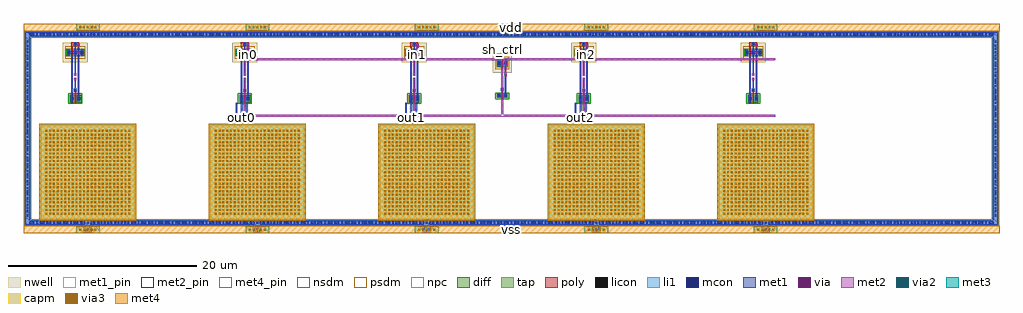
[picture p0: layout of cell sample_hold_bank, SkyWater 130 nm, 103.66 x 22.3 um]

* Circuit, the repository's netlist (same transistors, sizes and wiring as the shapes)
* NGSPICE file created from sample_hold_bank_flat.ext - technology: sky130A

.subckt sample_hold_bank_flat in0 in1 in2 out0 out2 vdd vss
X0 a_1150_2781# a_1102_3013# a_1014_2781# vss sky130_fd_pr__nfet_01v8 ad=0.4452 pd=2.74 as=0.4452 ps=2.74 w=0.84 l=0.15
X1 out2 out2 out2 w_8070_3634# sky130_fd_pr__pfet_01v8 ad=0.2226 pd=1.37 as=3.1164 ps=19.18 w=0.84 l=0.15
X2 a_4546_3760# a_4546_3760# a_4546_3760# w_4470_3634# sky130_fd_pr__pfet_01v8 ad=0.4452 pd=2.74 as=1.3356 ps=8.22 w=0.84 l=0.15
X3 out2 out2 out2 w_11670_3634# sky130_fd_pr__pfet_01v8 ad=0.2226 pd=1.37 as=0 ps=0 w=0.84 l=0.15
X4 a_946_3760# a_946_3760# a_946_3760# w_870_3634# sky130_fd_pr__pfet_01v8 ad=0.2226 pd=1.37 as=1.3356 ps=8.22 w=0.84 l=0.15
X5 a_4750_2781# a_4702_3013# out0 vss sky130_fd_pr__nfet_01v8 ad=0.4452 pd=2.74 as=0.4452 ps=2.74 w=0.84 l=0.15
X6 c1_11200_300# out2 sky130_fd_pr__cap_mim_m3_1 l=10 w=10
X7 c1_400_300# m3_372_272# sky130_fd_pr__cap_mim_m3_1 l=10 w=10
X8 a_15346_3760# a_15346_3760# a_15346_3760# w_15270_3634# sky130_fd_pr__pfet_01v8 ad=0.4452 pd=2.74 as=1.3356 ps=8.22 w=0.84 l=0.15
X9 a_4546_3760# a_4546_3760# a_4546_3760# w_4470_3634# sky130_fd_pr__pfet_01v8 ad=0.2226 pd=1.37 as=0 ps=0 w=0.84 l=0.15
X10 a_15550_2781# a_15502_3013# a_15414_2781# vss sky130_fd_pr__nfet_01v8 ad=0.4452 pd=2.74 as=0.4452 ps=2.74 w=0.84 l=0.15
X11 c1_14800_300# m3_14772_272# sky130_fd_pr__cap_mim_m3_1 l=10 w=10
X12 c1_4000_300# out0 sky130_fd_pr__cap_mim_m3_1 l=10 w=10
X13 out2 out2 out2 w_8070_3634# sky130_fd_pr__pfet_01v8 ad=0.4452 pd=2.74 as=0 ps=0 w=0.84 l=0.15
X14 a_15346_3760# a_15346_3760# a_15346_3760# w_15270_3634# sky130_fd_pr__pfet_01v8 ad=0.2226 pd=1.37 as=0 ps=0 w=0.84 l=0.15
X15 out2 out2 a_10082_3536# w_10006_3410# sky130_fd_pr__pfet_01v8 ad=0.4452 pd=2.74 as=0.4452 ps=2.74 w=0.84 l=0.15
X16 out2 out2 out2 w_11670_3634# sky130_fd_pr__pfet_01v8 ad=0.4452 pd=2.74 as=0 ps=0 w=0.84 l=0.15
X17 out2 out2 a_10082_2881# vss sky130_fd_pr__nfet_01v8 ad=0.2226 pd=1.9 as=0.2226 ps=1.9 w=0.42 l=0.15
X18 a_946_3760# a_946_3760# a_946_3760# w_870_3634# sky130_fd_pr__pfet_01v8 ad=0.4452 pd=2.74 as=0 ps=0 w=0.84 l=0.15
X19 a_8350_2781# out2 out2 vss sky130_fd_pr__nfet_01v8 ad=0.4452 pd=2.74 as=0.4452 ps=2.74 w=0.84 l=0.15
X20 c1_7600_300# out2 sky130_fd_pr__cap_mim_m3_1 l=10 w=10
X21 a_11950_2781# out2 out2 vss sky130_fd_pr__nfet_01v8 ad=0.4452 pd=2.74 as=0.4452 ps=2.74 w=0.84 l=0.15
.ends

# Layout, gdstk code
import gdstk
lib = gdstk.Library(unit=1e-6, precision=1e-09)
def R(c, l, rs):  # rectangles x0, y0, x1, y1
    for r in rs: c.add(gdstk.rectangle(r[:2], r[2:], *l))
def A(c, l, x, y, w, h, nx, ny, dx, dy):  # array of equal rectangles
    R(c, l, [(x+i*dx, y+j*dy, x+i*dx+w, y+j*dy+h) for i in range(nx) for j in range(ny)])
def P(c, l, *ps):  # polygons
    for p in ps: c.add(gdstk.Polygon(p, *l))
nwell = (64, 20)
diff = (65, 20)
tap = (65, 44)
poly = (66, 20)
licon = (66, 44)
li1 = (67, 20)
mcon = (67, 44)
met1_pin = (68, 16)
met1 = (68, 20)
via = (68, 44)
met2_pin = (69, 16)
met2 = (69, 20)
via2 = (69, 44)
met3 = (70, 20)
via3 = (70, 44)
met4_pin = (71, 16)
met4 = (71, 20)
capm = (89, 44)
nsdm = (93, 44)
psdm = (94, 20)
npc = (95, 20)

shb_mim_dummy = lib.new_cell('shb_mim_dummy')
R(shb_mim_dummy, met3, [(-0.14,-0.14,10.14,10.14)])
A(shb_mim_dummy, via3, 0.5, 0.5, 0.2, 0.2, 23, 23, 0.4, 0.4)
R(shb_mim_dummy, met4, [(-0.14,-0.14,10.14,10.14)])
R(shb_mim_dummy, capm, [(0,0,10,10)])

shb_mim_200f = lib.new_cell('shb_mim_200f')
R(shb_mim_200f, met3, [(-0.14,-0.14,10.14,10.14)])
A(shb_mim_200f, via3, 0.5, 0.5, 0.2, 0.2, 23, 23, 0.4, 0.4)
R(shb_mim_200f, met4, [(-0.14,-0.14,10.14,10.14)])
R(shb_mim_200f, capm, [(0,0,10,10)])

shb_tg_dummy_n = lib.new_cell('shb_tg_dummy_n')
R(shb_tg_dummy_n, diff, [(-0.605,-0.42,0.605,0.42)])
R(shb_tg_dummy_n, poly, [(-0.075,-0.55,0.075,0.55), (-0.075,0.55,0.075,1.07), (-0.165,0.74,0.165,1.07)])
R(shb_tg_dummy_n, licon, [(-0.425,-0.255,-0.255,-0.085), (0.255,-0.255,0.425,-0.085), (-0.425,0.085,-0.255,0.255), (0.255,0.085,0.425,0.255), (-0.085,0.82,0.085,0.99)])
R(shb_tg_dummy_n, li1, [(-0.505,-0.335,-0.175,0.335), (0.175,-0.335,0.505,0.335), (-0.165,0.74,0.165,1.07)])
R(shb_tg_dummy_n, mcon, [(-0.425,-0.085,-0.255,0.085), (0.255,-0.085,0.425,0.085), (-0.085,0.82,0.085,0.99)])
R(shb_tg_dummy_n, met1, [(-0.455,-0.185,-0.225,0.185), (0.225,-0.185,0.455,0.185), (-0.115,0.72,0.115,1.09)])
R(shb_tg_dummy_n, nsdm, [(-0.73,-0.56,0.73,0.56)])
R(shb_tg_dummy_n, npc, [(-0.135,0.77,0.135,1.04)])

shb_tg_dummy_p = lib.new_cell('shb_tg_dummy_p')
R(shb_tg_dummy_p, nwell, [(-1.325,-1.05,1.325,1.05)])
R(shb_tg_dummy_p, diff, [(-0.945,-0.42,0.945,0.42)])
R(shb_tg_dummy_p, poly, [(-0.415,-0.67,-0.265,0.67), (0.265,-0.67,0.415,0.67), (-0.415,0.67,-0.265,1.07), (0.265,0.67,0.415,1.07), (-0.415,0.74,0.415,1.07), (-0.165,0.74,0.165,1.07)])
A(shb_tg_dummy_p, licon, -0.765, -0.255, 0.17, 0.17, 3, 2, 0.68, 0.34)
R(shb_tg_dummy_p, licon, [(-0.085,0.82,0.085,0.99)])
A(shb_tg_dummy_p, li1, -0.845, -0.335, 0.33, 0.67, 3, 1, 0.68, 0)
R(shb_tg_dummy_p, li1, [(-0.165,0.74,0.165,1.07)])
A(shb_tg_dummy_p, mcon, -0.765, -0.085, 0.17, 0.17, 3, 1, 0.68, 0)
R(shb_tg_dummy_p, mcon, [(-0.085,0.82,0.085,0.99)])
A(shb_tg_dummy_p, met1, -0.795, -0.185, 0.23, 0.37, 3, 1, 0.68, 0)
R(shb_tg_dummy_p, met1, [(-0.795,-0.115,0.795,0.115), (-0.115,0.72,0.115,1.09)])
R(shb_tg_dummy_p, psdm, [(-1.07,-0.68,1.07,0.68)])
R(shb_tg_dummy_p, npc, [(-0.135,0.77,0.135,1.04)])

shb_tg_dummy = lib.new_cell('shb_tg_dummy')
R(shb_tg_dummy, met1, [(-0.41,0.305,-0.27,5.401), (0.27,1.145,0.41,6.241), (-0.07,1.68,0.07,3.065), (-0.115,2.785,0.115,3.065), (-0.115,3.235,0.115,3.515), (-0.07,3.235,0.07,6.676), (0.225,6.376,0.455,6.656)])
R(shb_tg_dummy, via, [(-0.075,2.85,0.075,3), (-0.075,3.3,0.075,3.45), (0.265,6.441,0.415,6.591)])
R(shb_tg_dummy, met2, [(-0.115,2.785,0.115,3.065), (-0.115,3.235,0.115,3.515), (0.225,6.376,0.455,6.656)])
shb_tg_dummy.add(gdstk.Reference(shb_tg_dummy_n, (0,0.825)))
shb_tg_dummy.add(gdstk.Reference(shb_tg_dummy_p, (0,5.721)))

shb_tg_n = lib.new_cell('shb_tg_n')
R(shb_tg_n, diff, [(-0.605,-0.42,0.605,0.42)])
R(shb_tg_n, poly, [(-0.075,-0.55,0.075,0.55), (-0.075,0.55,0.075,1.07), (-0.165,0.74,0.165,1.07)])
R(shb_tg_n, licon, [(-0.425,-0.255,-0.255,-0.085), (0.255,-0.255,0.425,-0.085), (-0.425,0.085,-0.255,0.255), (0.255,0.085,0.425,0.255), (-0.085,0.82,0.085,0.99)])
R(shb_tg_n, li1, [(-0.505,-0.335,-0.175,0.335), (0.175,-0.335,0.505,0.335), (-0.165,0.74,0.165,1.07)])
R(shb_tg_n, mcon, [(-0.425,-0.085,-0.255,0.085), (0.255,-0.085,0.425,0.085), (-0.085,0.82,0.085,0.99)])
R(shb_tg_n, met1, [(-0.455,-0.185,-0.225,0.185), (0.225,-0.185,0.455,0.185), (-0.115,0.72,0.115,1.09)])
R(shb_tg_n, nsdm, [(-0.73,-0.56,0.73,0.56)])
R(shb_tg_n, npc, [(-0.135,0.77,0.135,1.04)])

shb_tg_p = lib.new_cell('shb_tg_p')
R(shb_tg_p, nwell, [(-1.325,-1.05,1.325,1.05)])
R(shb_tg_p, diff, [(-0.945,-0.42,0.945,0.42)])
R(shb_tg_p, poly, [(-0.415,-0.67,-0.265,0.67), (0.265,-0.67,0.415,0.67), (-0.415,0.67,-0.265,1.07), (0.265,0.67,0.415,1.07), (-0.415,0.74,0.415,1.07), (-0.165,0.74,0.165,1.07)])
A(shb_tg_p, licon, -0.765, -0.255, 0.17, 0.17, 3, 2, 0.68, 0.34)
R(shb_tg_p, licon, [(-0.085,0.82,0.085,0.99)])
A(shb_tg_p, li1, -0.845, -0.335, 0.33, 0.67, 3, 1, 0.68, 0)
R(shb_tg_p, li1, [(-0.165,0.74,0.165,1.07)])
A(shb_tg_p, mcon, -0.765, -0.085, 0.17, 0.17, 3, 1, 0.68, 0)
R(shb_tg_p, mcon, [(-0.085,0.82,0.085,0.99)])
A(shb_tg_p, met1, -0.795, -0.185, 0.23, 0.37, 3, 1, 0.68, 0)
R(shb_tg_p, met1, [(-0.795,-0.115,0.795,0.115), (-0.115,0.72,0.115,1.09)])
R(shb_tg_p, psdm, [(-1.07,-0.68,1.07,0.68)])
R(shb_tg_p, npc, [(-0.135,0.77,0.135,1.04)])

shb_tg = lib.new_cell('shb_tg')
R(shb_tg, met1, [(-0.41,0.305,-0.27,5.401), (0.27,1.145,0.41,6.241), (-0.07,1.68,0.07,3.065), (-0.115,2.785,0.115,3.065), (-0.115,3.235,0.115,3.515), (-0.07,3.235,0.07,6.676), (0.225,6.376,0.455,6.656)])
R(shb_tg, via, [(-0.075,2.85,0.075,3), (-0.075,3.3,0.075,3.45), (0.265,6.441,0.415,6.591)])
R(shb_tg, met2, [(-0.115,2.785,0.115,3.065), (-0.115,3.235,0.115,3.515), (0.225,6.376,0.455,6.656)])
shb_tg.add(gdstk.Reference(shb_tg_n, (0,0.825)))
shb_tg.add(gdstk.Reference(shb_tg_p, (0,5.721)))

shb_inv_ctrl_n = lib.new_cell('shb_inv_ctrl_n')
R(shb_inv_ctrl_n, diff, [(-0.605,-0.21,0.605,0.21)])
R(shb_inv_ctrl_n, poly, [(-0.075,-0.34,0.075,0.34), (-0.075,0.34,0.075,0.86), (-0.165,0.53,0.165,0.86)])
R(shb_inv_ctrl_n, licon, [(-0.425,-0.085,-0.255,0.085), (0.255,-0.085,0.425,0.085), (-0.085,0.61,0.085,0.78)])
R(shb_inv_ctrl_n, li1, [(-0.505,-0.165,-0.175,0.165), (0.175,-0.165,0.505,0.165), (-0.165,0.53,0.165,0.86)])
R(shb_inv_ctrl_n, mcon, [(-0.425,-0.085,-0.255,0.085), (0.255,-0.085,0.425,0.085), (-0.085,0.61,0.085,0.78)])
R(shb_inv_ctrl_n, met1, [(-0.455,-0.185,-0.225,0.185), (0.225,-0.185,0.455,0.185), (-0.115,0.51,0.115,0.88)])
R(shb_inv_ctrl_n, nsdm, [(-0.73,-0.35,0.73,0.35)])
R(shb_inv_ctrl_n, npc, [(-0.135,0.56,0.135,0.83)])

shb_inv_ctrl_p = lib.new_cell('shb_inv_ctrl_p')
R(shb_inv_ctrl_p, nwell, [(-0.985,-1.05,0.985,1.05)])
R(shb_inv_ctrl_p, diff, [(-0.605,-0.42,0.605,0.42)])
R(shb_inv_ctrl_p, poly, [(-0.075,-0.67,0.075,0.67), (-0.075,0.67,0.075,1.07), (-0.165,0.74,0.165,1.07)])
R(shb_inv_ctrl_p, licon, [(-0.425,-0.255,-0.255,-0.085), (0.255,-0.255,0.425,-0.085), (-0.425,0.085,-0.255,0.255), (0.255,0.085,0.425,0.255), (-0.085,0.82,0.085,0.99)])
R(shb_inv_ctrl_p, li1, [(-0.505,-0.335,-0.175,0.335), (0.175,-0.335,0.505,0.335), (-0.165,0.74,0.165,1.07)])
R(shb_inv_ctrl_p, mcon, [(-0.425,-0.085,-0.255,0.085), (0.255,-0.085,0.425,0.085), (-0.085,0.82,0.085,0.99)])
R(shb_inv_ctrl_p, met1, [(-0.455,-0.185,-0.225,0.185), (0.225,-0.185,0.455,0.185), (-0.115,0.72,0.115,1.09)])
R(shb_inv_ctrl_p, psdm, [(-0.73,-0.68,0.73,0.68)])
R(shb_inv_ctrl_p, npc, [(-0.135,0.77,0.135,1.04)])

shb_inv_ctrl = lib.new_cell('shb_inv_ctrl')
R(shb_inv_ctrl, met1, [(0.27,0.755,0.41,4.591), (-0.13,1.18,0.13,1.44), (-0.13,4.876,0.13,5.136)])
R(shb_inv_ctrl, via, [(-0.075,1.235,0.075,1.385), (-0.075,4.931,0.075,5.081)])
R(shb_inv_ctrl, met2, [(-0.13,1.18,0.13,1.44), (-0.07,1.18,0.07,5.136), (-0.13,4.876,0.13,5.136)])
shb_inv_ctrl.add(gdstk.Reference(shb_inv_ctrl_n, (0,0.615)))
shb_inv_ctrl.add(gdstk.Reference(shb_inv_ctrl_p, (0,4.101)))

shb_pring = lib.new_cell('shb_pring')
P(shb_pring, tap, [(51.655,10.275),(-51.655,10.275),(-51.655,-9.745),(-51.125,-9.745),(-51.125,9.745),(51.125,9.745),(51.125,-9.745),(-51.125,-9.745),(-51.655,-9.745),(-51.655,-10.275),(51.655,-10.275)])
A(shb_pring, licon, -51.085, -10.095, 0.17, 0.17, 171, 2, 0.6, 20.02)
A(shb_pring, licon, -51.475, -9.385, 0.17, 0.17, 1, 32, 0, 0.6)
A(shb_pring, licon, 51.305, -9.385, 0.17, 0.17, 1, 32, 0, 0.6)
P(shb_pring, li1, [(51.695,10.315),(-51.695,10.315),(-51.695,-9.705),(-51.085,-9.705),(-51.085,9.705),(51.085,9.705),(51.085,-9.705),(-51.085,-9.705),(-51.695,-9.705),(-51.695,-10.315),(51.695,-10.315)])
A(shb_pring, mcon, -51.205, -10.095, 0.17, 0.17, 285, 2, 0.36, 20.02)
A(shb_pring, mcon, -51.475, -9.265, 0.17, 0.17, 1, 52, 0, 0.36)
A(shb_pring, mcon, 51.305, -9.265, 0.17, 0.17, 1, 52, 0, 0.36)
P(shb_pring, met1, [(51.625,10.245),(-51.625,10.245),(-51.625,-9.775),(-51.155,-9.775),(-51.155,9.775),(51.155,9.775),(51.155,-9.775),(-51.155,-9.775),(-51.625,-9.775),(-51.625,-10.245),(51.625,-10.245)])
P(shb_pring, psdm, [(51.78,10.4),(-51.78,10.4),(-51.78,-9.62),(-51,-9.62),(-51,9.62),(51,9.62),(51,-9.62),(-51,-9.62),(-51.78,-9.62),(-51.78,-10.4),(51.78,-10.4)])

sample_hold_bank = lib.new_cell('sample_hold_bank')
A(sample_hold_bank, met1_pin, 23.235, 12.2, 0.2, 0.2, 3, 1, 18, 0)
A(sample_hold_bank, met1, 6.75, 0, 0.5, 1.5, 5, 1, 18, 0)
A(sample_hold_bank, met1, 6.76, 0.085, 0.48, 0.78, 5, 1, 18, 0)
A(sample_hold_bank, met1, 23.195, 12.235, 0.28, 0.28, 3, 1, 18, 0)
A(sample_hold_bank, met1, 22.695, 12.3, 0.2, 1.605, 3, 1, 0.54, 0)
A(sample_hold_bank, met1, 40.695, 12.3, 0.2, 1.605, 3, 1, 0.54, 0)
A(sample_hold_bank, met1, 58.695, 12.3, 0.2, 1.605, 3, 1, 0.54, 0)
R(sample_hold_bank, met1, [(51.215,16.695,51.495,16.975)])
A(sample_hold_bank, via, 6.925, 0.165, 0.15, 0.15, 5, 2, 18, 0.32)
A(sample_hold_bank, via, 23.26, 12.3, 0.15, 0.15, 3, 1, 18, 0)
R(sample_hold_bank, via, [(51.28,16.76,51.43,16.91)])
A(sample_hold_bank, met2_pin, 23.865, 18.85, 0.3, 0.3, 3, 1, 18, 0)
R(sample_hold_bank, met2_pin, [(50.915,19.4,51.115,19.6)])
A(sample_hold_bank, met2, 6.56, 0.03, 0.88, 0.74, 5, 1, 18, 0)
A(sample_hold_bank, met2, 23.195, 12.235, 0.28, 0.28, 3, 1, 18, 0)
A(sample_hold_bank, met2, 23.145, 12.26, 0.38, 0.28, 3, 1, 18, 0)
A(sample_hold_bank, met2, 23.575, 12.4, 0.2, 4.025, 3, 1, 18, 0)
A(sample_hold_bank, met2, 23.575, 16.875, 0.2, 1.725, 3, 1, 18, 0)
A(sample_hold_bank, met2, 23.865, 19, 0.3, 1.016, 3, 1, 18, 0)
R(sample_hold_bank, met2, [(24,12.4,80,12.6), (50.915,12.4,51.115,16.835), (51.215,16.695,51.495,16.975), (50.915,16.835,51.115,19.5), (51.255,16.835,51.455,18.6), (24,18.4,80,18.6)])
A(sample_hold_bank, via2, 6.9, 0.3, 0.2, 0.2, 5, 1, 18, 0)
A(sample_hold_bank, via2, 23.235, 12.3, 0.2, 0.2, 3, 1, 18, 0)
A(sample_hold_bank, met3, 6.56, 0.01, 0.88, 0.78, 5, 1, 18, 0)
A(sample_hold_bank, met3, 5.75, 0.02, 2.5, 0.76, 5, 2, 18, 21.5)
A(sample_hold_bank, met3, 23.11, 1.46, 0.45, 11.105, 3, 1, 18, 0)
A(sample_hold_bank, met3, 23.11, 12.235, 0.45, 0.33, 3, 1, 18, 0)
A(sample_hold_bank, via3, 6.1, 0.3, 0.2, 0.2, 5, 2, 0.4, 21.5)
A(sample_hold_bank, via3, 24.1, 0.3, 0.2, 0.2, 5, 2, 0.4, 21.5)
A(sample_hold_bank, via3, 42.1, 0.3, 0.2, 0.2, 5, 2, 0.4, 21.5)
A(sample_hold_bank, via3, 60.1, 0.3, 0.2, 0.2, 5, 2, 0.4, 21.5)
A(sample_hold_bank, via3, 78.1, 0.3, 0.2, 0.2, 5, 2, 0.4, 21.5)
R(sample_hold_bank, met4_pin, [(51.75,0.15,52.25,0.65), (51.75,21.65,52.25,22.15)])
R(sample_hold_bank, met4, [(0.17,0,103.83,0.8), (0.17,21.5,103.83,22.3)])
sample_hold_bank.add(gdstk.Reference(shb_mim_dummy, (2,1.5)))
sample_hold_bank.add(gdstk.Reference(shb_mim_200f, (20,1.5)))
sample_hold_bank.add(gdstk.Reference(shb_mim_200f, (38,1.5)))
sample_hold_bank.add(gdstk.Reference(shb_mim_200f, (56,1.5)))
sample_hold_bank.add(gdstk.Reference(shb_mim_200f, (74,1.5)))
sample_hold_bank.add(gdstk.Reference(shb_tg_dummy, (5.675,13.5)))
sample_hold_bank.add(gdstk.Reference(shb_tg, (23.675,13.5)))
sample_hold_bank.add(gdstk.Reference(shb_tg, (41.675,13.5)))
sample_hold_bank.add(gdstk.Reference(shb_tg, (59.675,13.5)))
sample_hold_bank.add(gdstk.Reference(shb_tg, (77.675,13.5)))
sample_hold_bank.add(gdstk.Reference(shb_inv_ctrl, (51.015,14)))
sample_hold_bank.add(gdstk.Reference(shb_pring, (52,11.15)))
sample_hold_bank.add(gdstk.Label('in0', (24.015,19), layer=69, texttype=5))
sample_hold_bank.add(gdstk.Label('in1', (42.015,19), layer=69, texttype=5))
sample_hold_bank.add(gdstk.Label('in2', (60.015,19), layer=69, texttype=5))
sample_hold_bank.add(gdstk.Label('out0', (23.335,12.3), layer=68, texttype=5))
sample_hold_bank.add(gdstk.Label('out1', (41.335,12.3), layer=68, texttype=5))
sample_hold_bank.add(gdstk.Label('out2', (59.335,12.3), layer=68, texttype=5))
sample_hold_bank.add(gdstk.Label('sh_ctrl', (51.015,19.5), layer=69, texttype=5))
sample_hold_bank.add(gdstk.Label('vdd', (52,21.9), layer=71, texttype=5))
sample_hold_bank.add(gdstk.Label('vss', (52,0.4), layer=71, texttype=5))

lib.write_gds('sample_hold_bank.gds')
